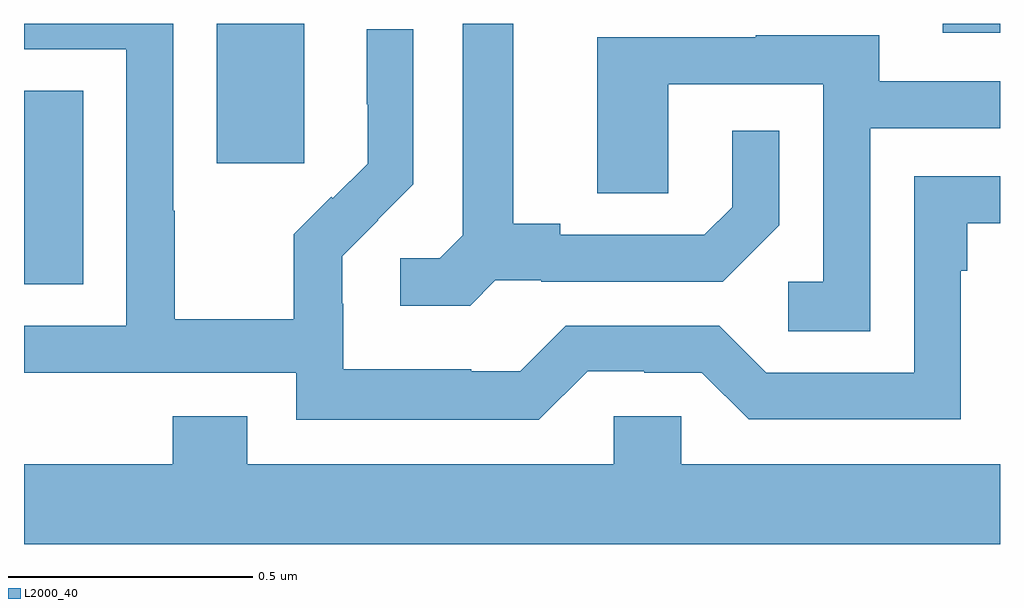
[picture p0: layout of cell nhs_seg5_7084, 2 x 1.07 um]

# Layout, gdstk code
import gdstk
lib = gdstk.Library(unit=1e-6, precision=1e-09)
def R(c, l, rs):  # rectangles x0, y0, x1, y1
    for r in rs: c.add(gdstk.rectangle(r[:2], r[2:], *l))
def P(c, l, *ps):  # polygons
    for p in ps: c.add(gdstk.Polygon(p, *l))
L2000_40 = (2000, 40)

nhs_seg5_7084 = lib.new_cell('nhs_seg5_7084')
R(nhs_seg5_7084, L2000_40, [(204,885.265,204.121,885.662), (204.395,885.513,204.574,885.799), (205.883,885.78,206,885.799)])
P(nhs_seg5_7084, L2000_40, [(205.155,885.087),(205.271,885.087),(205.271,885.084),(205.389,885.084),(205.485,884.988),(205.92,884.988),(205.92,885.293),(205.933,885.293),(205.933,885.39),(206,885.39),(206,885.486),(205.824,885.486),(205.824,885.084),(205.521,885.084),(205.425,885.18),(205.11,885.18),(205.017,885.087),(204.917,885.087),(204.917,885.091),(204.654,885.091),(204.654,885.225),(204.652,885.225),(204.652,885.322),(204.726,885.396),(204.725,885.397),(204.798,885.47),(204.798,885.788),(204.702,885.788),(204.702,885.634),(204.704,885.634),(204.704,885.512),(204.633,885.441),(204.63,885.444),(204.553,885.367),(204.553,885.193),(204.309,885.193),(204.309,885.416),(204.306,885.416),(204.306,885.799),(204,885.799),(204,885.747),(204.21,885.747),(204.21,885.18),(204,885.18),(204,885.084),(204.558,885.084),(204.558,884.987),(205.055,884.987)],
  [(204.966,885.273),(205.06,885.273),(205.06,885.27),(205.432,885.27),(205.548,885.386),(205.548,885.58),(205.451,885.58),(205.451,885.423),(205.394,885.366),(205.099,885.366),(205.099,885.389),(205.003,885.389),(205.003,885.799),(204.899,885.799),(204.899,885.365),(204.852,885.318),(204.771,885.318),(204.771,885.221),(204.914,885.221)],
  [(205.734,885.585),(206,885.585),(206,885.681),(205.753,885.681),(205.753,885.775),(205.499,885.775),(205.499,885.771),(205.175,885.771),(205.175,885.451),(205.32,885.451),(205.32,885.675),(205.638,885.675),(205.638,885.27),(205.566,885.27),(205.566,885.169),(205.734,885.169)],
  [(206,884.896),(205.347,884.896),(205.347,884.994),(205.209,884.994),(205.209,884.896),(204.457,884.896),(204.457,884.995),(204.305,884.995),(204.305,884.896),(204,884.896),(204,884.732),(206,884.732)])

lib.write_gds('nhs_seg5_7084.gds')
